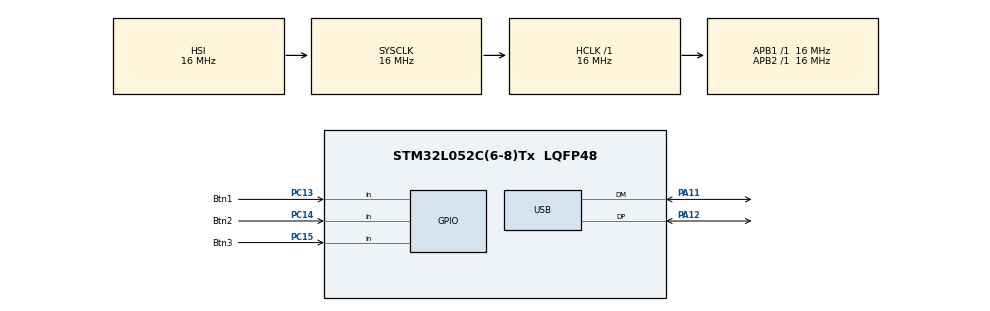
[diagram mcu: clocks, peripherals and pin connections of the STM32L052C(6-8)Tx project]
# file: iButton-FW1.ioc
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Mcu.Family=STM32L0
Mcu.Name=STM32L052C(6-8)Tx
Mcu.Package=LQFP48
NVIC.USB_IRQn=true\:0\:0\:false\:false\:true\:false\:true\:true
PA11.Mode=Device
PA11.Signal=USB_DM
PA12.Mode=Device
PA12.Signal=USB_DP
PC13.GPIO_Label=Btn1
PC13.GPIO_PuPd=GPIO_PULLUP
PC13.Signal=GPIO_Input
PC14-OSC32_IN.GPIO_Label=Btn2
PC14-OSC32_IN.GPIO_PuPd=GPIO_PULLUP
PC14-OSC32_IN.Signal=GPIO_Input
PC15-OSC32_OUT.GPIO_Label=Btn3
PC15-OSC32_OUT.GPIO_PuPd=GPIO_PULLUP
PC15-OSC32_OUT.Signal=GPIO_Input
ProjectManager.HeapSize=0x200
ProjectManager.StackSize=0x400
ProjectManager.TargetToolchain=STM32CubeIDE
RCC.AHBFreq_Value=16000000
RCC.APB1Freq_Value=16000000
RCC.APB1TimFreq_Value=16000000
RCC.APB2Freq_Value=16000000
RCC.APB2TimFreq_Value=16000000
RCC.HCLKFreq_Value=16000000
RCC.HSE_VALUE=8000000
RCC.HSI16_VALUE=16000000
RCC.HSI48MClockSelection=RCC_USBCLKSOURCE_HSI48
RCC.HSI48_VALUE=48000000
RCC.HSI_VALUE=16000000
RCC.LSE_VALUE=32768
RCC.MSI_VALUE=2097000
RCC.PLLMUL=RCC_PLLMUL_6
RCC.SYSCLKFreq_VALUE=16000000
RCC.SYSCLKSource=RCC_SYSCLKSOURCE_HSI
RCC.VCOOutputFreq_Value=96000000
USB_DEVICE.CLASS_NAME_FS=HID
USB_DEVICE.VirtualMode=Hid
USB_DEVICE.VirtualModeFS=Hid_FS
VP_USB_DEVICE_VS_USB_DEVICE_HID_FS.Mode=HID_FS
board=custom

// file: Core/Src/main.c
/* USER CODE BEGIN Header */
/**
  ******************************************************************************
  * @file           : main.c
  * @brief          : Main program body
  ******************************************************************************
  * @attention
  *
  * Copyright (c) 2024 STMicroelectronics.
  * All rights reserved.
  *
  * This software is licensed under terms that can be found in the LICENSE file
  * in the root directory of this software component.
  * If no LICENSE file comes with this software, it is provided AS-IS.
  *
  ******************************************************************************
  */
/* USER CODE END Header */
#include "main.h"
#include "usb_device.h"

/* USER CODE BEGIN Includes */
#include "usbd_hid.h"
/* USER CODE END Includes */

void SystemClock_Config(void);
static void MX_GPIO_Init(void);

int main(void)
{

  /* MCU Configuration--------------------------------------------------------*/

  /* Reset of all peripherals, Initializes the Flash interface and the Systick. */
  HAL_Init();

  /* Configure the system clock */
  SystemClock_Config();

  /* USER CODE BEGIN SysInit */
  uint8_t buttonReport[5] = {0};
  uint8_t lastButtonReport = 0;
  extern USBD_HandleTypeDef hUsbDeviceFS;
  HAL_Delay(500);
  /* USER CODE END SysInit */

  /* Initialize all configured peripherals */
  MX_GPIO_Init();
  MX_USB_DEVICE_Init();

  /* Infinite loop */
  /* USER CODE BEGIN WHILE */
  while (1)
  {
    if (HAL_GPIO_ReadPin(Btn1_GPIO_Port, Btn1_Pin) == GPIO_PIN_RESET) {
      buttonReport[0] |= 1<<5;
    } else {
      buttonReport[0] &= ~(1<<5);
    }

    if (HAL_GPIO_ReadPin(Btn2_GPIO_Port, Btn2_Pin) == GPIO_PIN_RESET) {
      buttonReport[0] |= 1<<6;
    } else {
      buttonReport[0] &= ~(1<<6);
    }

    if (HAL_GPIO_ReadPin(Btn3_GPIO_Port, Btn3_Pin) == GPIO_PIN_RESET) {
      buttonReport[0] |= 1<<7;
    } else {
      buttonReport[0] &= ~(1<<7);
    }

    if (buttonReport[0] != lastButtonReport) {
      lastButtonReport = buttonReport[0];
      USBD_HID_SendReport(&hUsbDeviceFS, buttonReport, 5);
    }

    HAL_Delay(50);
    /* USER CODE END WHILE */

  }
}

void SystemClock_Config(void)
{
  RCC_OscInitTypeDef RCC_OscInitStruct = {0};
  RCC_ClkInitTypeDef RCC_ClkInitStruct = {0};
  RCC_PeriphCLKInitTypeDef PeriphClkInit = {0};

  /** Configure the main internal regulator output voltage
  */
  __HAL_PWR_VOLTAGESCALING_CONFIG(PWR_REGULATOR_VOLTAGE_SCALE1);

  /** Initializes the RCC Oscillators according to the specified parameters
  * in the RCC_OscInitTypeDef structure.
  */
  RCC_OscInitStruct.OscillatorType = RCC_OSCILLATORTYPE_HSI|RCC_OSCILLATORTYPE_HSI48;
  RCC_OscInitStruct.HSIState = RCC_HSI_ON;
  RCC_OscInitStruct.HSICalibrationValue = RCC_HSICALIBRATION_DEFAULT;
  RCC_OscInitStruct.HSI48State = RCC_HSI48_ON;
  RCC_OscInitStruct.PLL.PLLState = RCC_PLL_NONE;
  if (HAL_RCC_OscConfig(&RCC_OscInitStruct) != HAL_OK)
  {
    Error_Handler();
  }

  /** Initializes the CPU, AHB and APB buses clocks
  */
  RCC_ClkInitStruct.ClockType = RCC_CLOCKTYPE_HCLK|RCC_CLOCKTYPE_SYSCLK
                              |RCC_CLOCKTYPE_PCLK1|RCC_CLOCKTYPE_PCLK2;
  RCC_ClkInitStruct.SYSCLKSource = RCC_SYSCLKSOURCE_HSI;
  RCC_ClkInitStruct.AHBCLKDivider = RCC_SYSCLK_DIV1;
  RCC_ClkInitStruct.APB1CLKDivider = RCC_HCLK_DIV1;
  RCC_ClkInitStruct.APB2CLKDivider = RCC_HCLK_DIV1;

  if (HAL_RCC_ClockConfig(&RCC_ClkInitStruct, FLASH_LATENCY_0) != HAL_OK)
  {
    Error_Handler();
  }
  PeriphClkInit.PeriphClockSelection = RCC_PERIPHCLK_USB;
  PeriphClkInit.UsbClockSelection = RCC_USBCLKSOURCE_HSI48;
  if (HAL_RCCEx_PeriphCLKConfig(&PeriphClkInit) != HAL_OK)
  {
    Error_Handler();
  }
}

static void MX_GPIO_Init(void)
{
  GPIO_InitTypeDef GPIO_InitStruct = {0};

  /* GPIO Ports Clock Enable */
  __HAL_RCC_GPIOC_CLK_ENABLE();
  __HAL_RCC_GPIOA_CLK_ENABLE();

  /*Configure GPIO pins : Btn1_Pin Btn2_Pin Btn3_Pin */
  GPIO_InitStruct.Pin = Btn1_Pin|Btn2_Pin|Btn3_Pin;
  GPIO_InitStruct.Mode = GPIO_MODE_INPUT;
  GPIO_InitStruct.Pull = GPIO_PULLUP;
  HAL_GPIO_Init(GPIOC, &GPIO_InitStruct);

}

void Error_Handler(void)
{
  __disable_irq();
  while (1)
  {
  }
}
